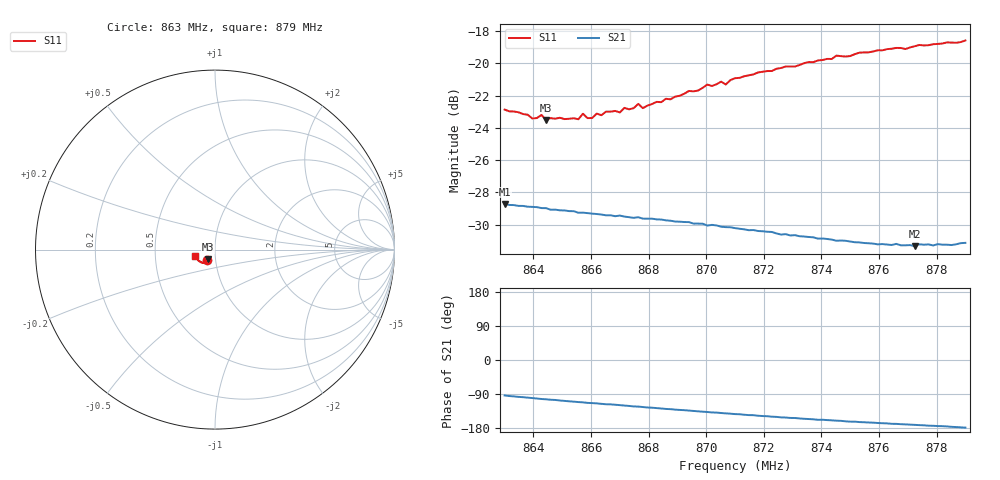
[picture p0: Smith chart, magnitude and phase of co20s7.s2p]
# HZ S RI R 50
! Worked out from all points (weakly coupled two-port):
!   101 points, 863 MHz to 879 MHz, reference 50 ohm
!   highest |S21| = -28.71 dB at 863 MHz (marker M1); lowest = -31.3 dB at 877.24 MHz (marker M2)
!   lowest |S11| = -23.5 dB at 864.44 MHz (marker M3), VSWR 1.14, Z = 46 - j4.99 ohm
!   |S11| at or under -10 dB: start of sweep to end of sweep
!   S12 and S22 are empty: the file has one direction only
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8.63e8  -0.0451 -0.0559  -0.00231 -0.0366  0 0  0 0
8.6396e8  -0.0399 -0.0544  -0.00648 -0.0353  0 0  0 0
8.6428e8  -0.0418 -0.0551  -0.00795 -0.0347  0 0  0 0
8.6444e8  -0.0392 -0.054  -0.00844 -0.0346  0 0  0 0
8.6556e8  -0.0367 -0.0562  -0.0123 -0.0322  0 0  0 0
8.6572e8  -0.0374 -0.0589  -0.0127 -0.032  0 0  0 0
8.6604e8  -0.0352 -0.0578  -0.0138 -0.0313  0 0  0 0
8.662e8  -0.0364 -0.0596  -0.0141 -0.0311  0 0  0 0
8.67e8  -0.0353 -0.061  -0.0164 -0.0295  0 0  0 0
8.6716e8  -0.0356 -0.0634  -0.0169 -0.029  0 0  0 0
8.6764e8  -0.0375 -0.0648  -0.0182 -0.028  0 0  0 0
8.678e8  -0.0356 -0.0633  -0.0185 -0.0273  0 0  0 0
8.6844e8  -0.037 -0.0661  -0.0202 -0.0259  0 0  0 0
8.7004e8  -0.0445 -0.0735  -0.0231 -0.0214  0 0  0 0
8.7052e8  -0.048 -0.0734  -0.0238 -0.0201  0 0  0 0
8.7068e8  -0.0467 -0.0722  -0.0241 -0.0196  0 0  0 0
8.71e8  -0.0502 -0.0745  -0.0246 -0.0187  0 0  0 0
8.7372e8  -0.0695 -0.073  -0.0265 -0.0115  0 0  0 0
8.7452e8  -0.0784 -0.0707  -0.0265 -0.00959  0 0  0 0
8.7644e8  -0.0928 -0.0606  -0.0268 -0.00548  0 0  0 0
8.7724e8  -0.099 -0.0543  -0.0268 -0.00417  0 0  0 0
8.79e8  -0.1114 -0.0378  -0.0278 -0.00076  0 0  0 0
